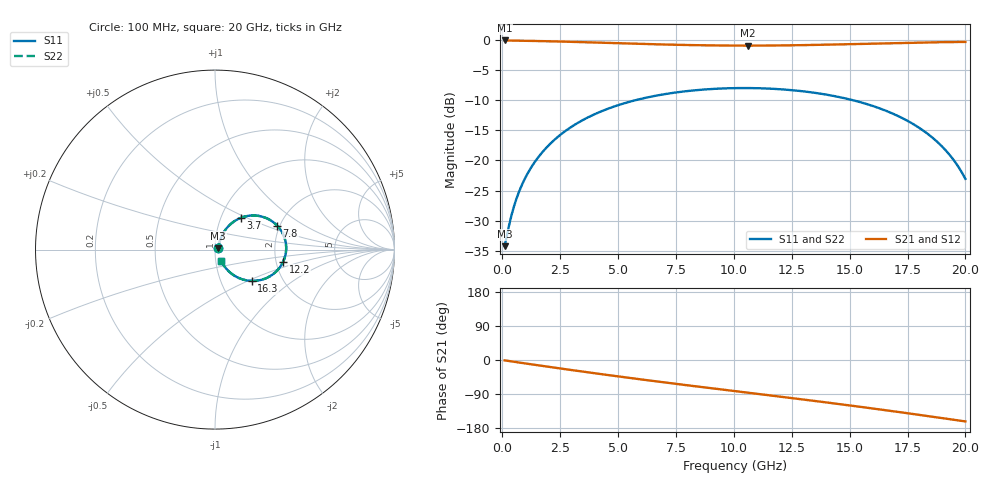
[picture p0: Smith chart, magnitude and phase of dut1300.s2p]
! Touchstone file exported from HFSS 2026.1.0
!  File:  C:/ffzhzh/LocalFiles/Ansys_Project_Files/temp_train_TSV_RDL_1300_1783333573_38704.aedt
!  Generated:  06:38:04 PM Jul  6, 2026
!  Design:  TSV_RDL
!  Project:  temp_train_TSV_RDL_1300_1783333573_38704
! Variables:
!  h_bsmrdl = 2.82um
!  h_ox = 20um
!  h_rdl = 5um
!  h_sub = 76.12um
!  h_tmrdl = 2.22um
!  h_tsv = 76.12um
!  h_via = 3um
!  l_bsmrdl = 302.55um
!  l_sub = 2655.48um
!  l_tmrdl = 304.64um
!  m_sub = 200um
!  pitch = 35.73um
!  r_tsv = 5.34um
!  s_tmrdl = 10um
!  w_bsmrdl = 23.87um
!  w_sub = 500um
!  w_tmrdl = 19.22um
!  x_tsv_center1 = 314.25um
!  x_tsv_center2 = 640.67um
!  x_tsv_center3 = 964.53um
!  x_tsv_center4 = 1290.95um
!  x_tsv_center5 = 1614.81um
!  x_tsv_center6 = 1941.23um
# GHz S MA R 50.000000
! Terminal data exported
! Port[1] = TM_RDL1_1_T1
! Port[2] = TM_RDL5_1_T1
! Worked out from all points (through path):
!   200 points, 100 MHz to 20 GHz, reference 50 ohm
!   highest |S21| = -0.16 dB at 100 MHz (marker M1); lowest = -1.0 dB at 10.6 GHz (marker M2)
!   group delay of S21, straight-line fit = 21.9 ps
!   lowest |S11| = -34.2 dB at 100 MHz (marker M3), VSWR 1.04, Z = 51.8 + j0.769 ohm
!   |S11| at or under -10 dB: start of sweep to 5.792 GHz; 15.1 GHz to end of sweep
!   |S22| runs from -34.2 to -8.0 dB; largest |S21 - S12| = 5.1e-14
!   S11 on the Smith chart (normalised r, x): 100 MHz: 1.04, +0.02; 3.7 GHz: 1.24, +0.46; 7.8 GHz: 1.93, +0.60; 12.2 GHz: 2.18, -0.35; 16.3 GHz: 1.40, -0.53; 20 GHz: 1.06, -0.13
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0.1  0.01953 22.3  0.982 -1.0  0.982 -1.0  0.01953 22.3
! Gamma 0 0 0 0
! Port Impedance 50 0 50 0
0.4  0.03533 52.3  0.9798 -3.8  0.9798 -3.8  0.03533 52.3
0.6  0.04747 58.5  0.9783 -5.6  0.9783 -5.6  0.04747 58.5
0.9  0.06596 62.4  0.9761 -8.2  0.9761 -8.2  0.06596 62.4
1.2  0.08453 63.6  0.974 -10.9  0.974 -10.9  0.08453 63.6
2.2  0.145 60.7  0.9653 -19.7  0.9653 -19.7  0.145 60.7
3.5  0.2168 52.5  0.9508 -30.9  0.9508 -30.9  0.2168 52.5
3.7  0.2269 51.1  0.9483 -32.5  0.9483 -32.5  0.2269 51.1
5.1  0.2902 40.9  0.9307 -44.1  0.9307 -44.1  0.2902 40.9
6.8  0.3476 28.4  0.9109 -57.6  0.9109 -57.6  0.3476 28.4
7.8  0.371 21.2  0.9017 -65.2  0.9017 -65.2  0.371 21.2
10.1  0.3964 4.7  0.8906 -82.5  0.8906 -82.5  0.3964 4.7
10.6  0.3967 1.2  0.8902 -86.2  0.8902 -86.2  0.3967 1.2
12.2  0.3854 -10.3  0.894 -98.2  0.894 -98.2  0.3854 -10.3
13.4  0.3645 -18.9  0.9013 -107.3  0.9013 -107.3  0.3645 -19.0
14.9  0.3231 -30.0  0.9144 -119.1  0.9144 -119.1  0.3231 -30.0
16.3  0.2694 -40.4  0.9285 -130.4  0.9285 -130.4  0.2694 -40.4
16.7  0.2515 -43.4  0.9325 -133.7  0.9325 -133.7  0.2515 -43.4
17.8  0.1969 -51.3  0.9426 -143.0  0.9426 -143.0  0.1969 -51.3
18.7  0.1473 -57.2  0.9492 -150.7  0.9492 -150.7  0.1472 -57.2
19.4  0.1063 -60.7  0.9528 -156.8  0.9528 -156.8  0.1063 -60.6
20  0.07034 -61.1  0.9546 -162.1  0.9546 -162.1  0.07034 -61.1
